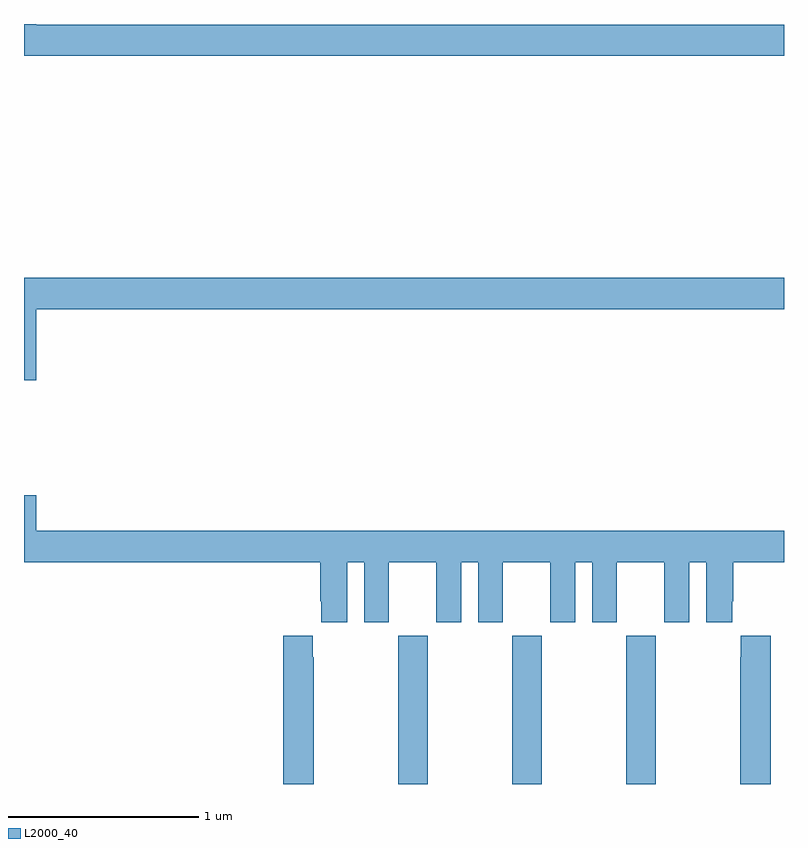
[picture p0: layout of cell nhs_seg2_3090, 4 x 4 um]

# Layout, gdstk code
import gdstk
lib = gdstk.Library(unit=1e-6, precision=1e-09)
def R(c, l, rs):  # rectangles x0, y0, x1, y1
    for r in rs: c.add(gdstk.rectangle(r[:2], r[2:], *l))
def A(c, l, x, y, w, h, nx, ny, dx, dy):  # array of equal rectangles
    R(c, l, [(x+i*dx, y+j*dy, x+i*dx+w, y+j*dy+h) for i in range(nx) for j in range(ny)])
def P(c, l, *ps):  # polygons
    for p in ps: c.add(gdstk.Polygon(p, *l))
L2000_40 = (2000, 40)

nhs_seg2_3090 = lib.new_cell('nhs_seg2_3090')
A(nhs_seg2_3090, L2000_40, 274.969, 647.8, 0.155, 0.78, 3, 1, 0.6, 0)
P(nhs_seg2_3090, L2000_40, [(277,651.796),(273.064,651.796),(273.064,651.8),(273,651.8),(273,651.632),(277,651.632)],
  [(273.064,650.3),(277,650.3),(277,650.464),(273,650.464),(273,649.926),(273.064,649.926)],
  [(273.064,649.321),(273,649.321),(273,648.968),(274.559,648.968),(274.559,648.763),(274.565,648.763),(274.565,648.651),(274.702,648.651),(274.702,648.968),(274.79,648.968),(274.79,648.651),(274.921,648.651),(274.921,648.968),(275.171,648.968),(275.171,648.651),(275.302,648.651),(275.302,648.968),(275.39,648.968),(275.39,648.651),(275.521,648.651),(275.521,648.968),(275.771,648.968),(275.771,648.651),(275.902,648.651),(275.902,648.968),(275.99,648.968),(275.99,648.651),(276.121,648.651),(276.121,648.968),(276.371,648.968),(276.371,648.651),(276.502,648.651),(276.502,648.968),(276.59,648.968),(276.59,648.651),(276.727,648.651),(276.727,648.763),(276.734,648.763),(276.734,648.968),(277,648.968),(277,649.132),(273.064,649.132)],
  [(276.929,648.58),(276.773,648.58),(276.773,648.467),(276.769,648.467),(276.769,647.8),(276.929,647.8)],
  [(274.519,648.467),(274.519,648.58),(274.364,648.58),(274.364,647.8),(274.524,647.8),(274.524,648.467)])

lib.write_gds('nhs_seg2_3090.gds')
